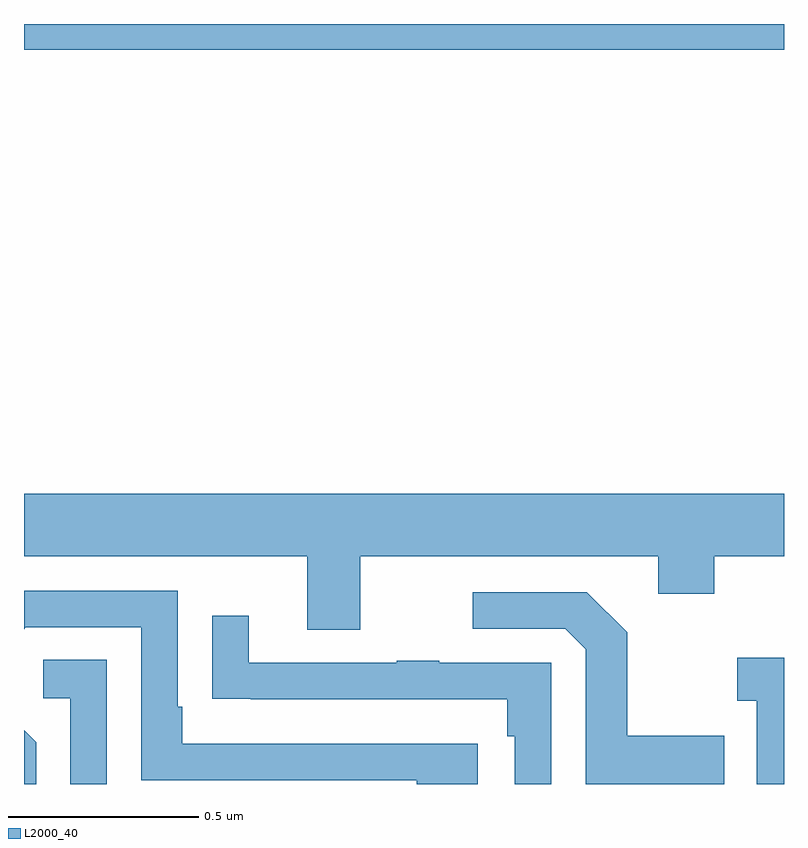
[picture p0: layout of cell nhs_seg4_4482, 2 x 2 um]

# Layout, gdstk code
import gdstk
lib = gdstk.Library(unit=1e-6, precision=1e-09)
def R(c, l, rs):  # rectangles x0, y0, x1, y1
    for r in rs: c.add(gdstk.rectangle(r[:2], r[2:], *l))
def P(c, l, *ps):  # polygons
    for p in ps: c.add(gdstk.Polygon(p, *l))
L2000_40 = (2000, 40)

nhs_seg4_4482 = lib.new_cell('nhs_seg4_4482')
R(nhs_seg4_4482, L2000_40, [(166,784.832,168,784.9)])
P(nhs_seg4_4482, L2000_40, [(166.885,783.5),(167.669,783.5),(167.669,783.401),(167.817,783.401),(167.817,783.5),(168,783.5),(168,783.664),(166,783.664),(166,783.5),(166.745,783.5),(166.745,783.306),(166.885,783.306)],
  [(167.194,783.006),(166.417,783.006),(166.417,783.103),(166.404,783.103),(166.404,783.408),(166,783.408),(166,783.307),(166.005,783.312),(166.308,783.312),(166.308,782.91),(167.033,782.91),(167.033,782.9),(167.194,782.9)],
  [(167.843,783.027),(167.587,783.027),(167.587,783.299),(167.481,783.405),(167.181,783.405),(167.181,783.309),(167.424,783.309),(167.478,783.255),(167.478,782.9),(167.843,782.9)],
  [(167.388,783.219),(167.093,783.219),(167.093,783.224),(166.981,783.224),(166.981,783.219),(166.591,783.219),(166.591,783.343),(166.495,783.343),(166.495,783.124),(166.597,783.124),(166.597,783.123),(167.272,783.123),(167.272,783.026),(167.292,783.026),(167.292,782.9),(167.388,782.9)],
  [(168,783.232),(167.877,783.232),(167.877,783.119),(167.928,783.119),(167.928,782.9),(168,782.9)],
  [(166.218,783.227),(166.05,783.227),(166.05,783.126),(166.122,783.126),(166.122,782.9),(166.218,782.9)],
  [(166.032,783.01),(166,783.042),(166,782.9),(166.032,782.9)])

lib.write_gds('nhs_seg4_4482.gds')
